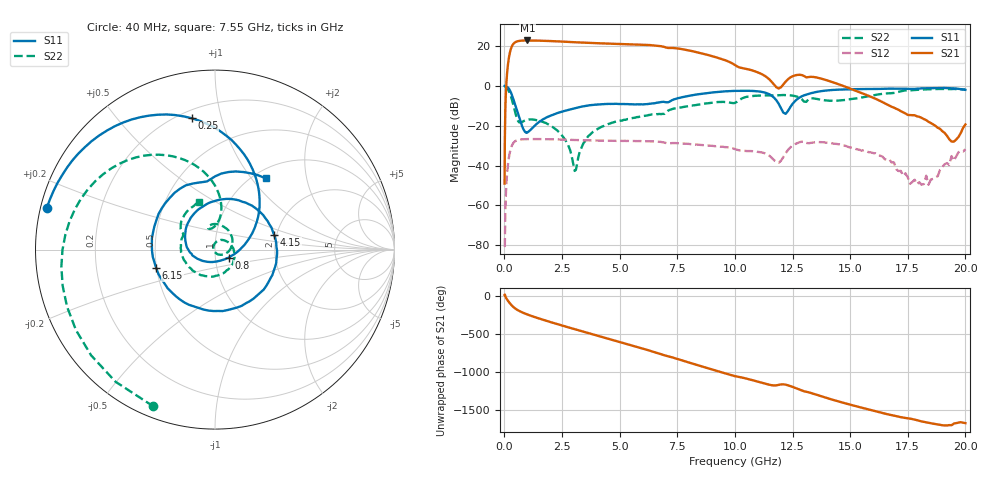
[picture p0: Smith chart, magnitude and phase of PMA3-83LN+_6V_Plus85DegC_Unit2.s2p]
!Mini-Circuits Laboratory
!Date: 9/18/2015 at 7:48:37 AM
!S2P DATA File Format
!Type: MMIC Amplifier
!Model: PMA3-83LN+
!S/N: Unit 2
!Fixture: Unit soldered on TB-830A+ RUN  MN61900 D/C 1537, no port extension
!PIN OUT: PORT 1 - PIN 2, PORT 2 - PIN 8, GROUND - PADDLE, DC POWER SUPPLY - PIN 8, NOT CONNECTED - PINS 1,3 to 7, 9 to 12
!TEST CONDITIONS: Temp= 85 (Deg C) RF Power= -25.00 (dBm) V limit=6(V) I limit=150(mA) Z=50 OHM
!WAFER/LOT#: CP483P004-02, CP483P004-03,CP483P004-04,
!Network Analyzer: PNA-X N5242A S/N 71404 CAL DUE: 09/10/2016
!P.Supply/Multimeter: HP E3632A S/N 63249 CAL DUE: 12/11/2015
!Power Meter: Agilent U2000A S/N 74434 CAL DUE: 10/17/2015
# Hz  S  dB  R  50
!Frequency  S11 dB  S11 Deg  S21 dB  S21 Deg  S12 dB  S12 Deg  S22 dB  S22 Deg
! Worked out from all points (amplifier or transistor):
!   380 points, 10 MHz to 20 GHz, reference 50 ohm
!   highest |S21| = 22.6 dB at 1 GHz (marker M1)
!   |S21| within 3 dB of that: 322.8 MHz to 6.853 GHz (6.53 GHz wide, 182 % of centre)
!   unconditionally stable (mu >= 1): start of sweep to end of sweep
!   at 640 MHz: K = 1.11, MAG = 22.7 dB, |S12| = -27.1 dB
!   at 5.55 GHz: K = 1.19, MAG = 21.6 dB, |S12| = -27.7 dB
!   at 20 GHz: K = 25.94, MAG = -11.0 dB, |S12| = -31.8 dB
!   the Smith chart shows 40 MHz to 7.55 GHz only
!   S11 on the Smith chart (normalised r, x): 40 MHz: 0.02, +0.12; 250 MHz: 0.25, +0.81; 800 MHz: 1.16, -0.10; 4.15 GHz: 1.94, +0.36; 6.15 GHz: 0.50, -0.12; 7.55 GHz: 1.13, +1.18
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1e7  -0.16 173.7  -49.09 20.8  -80.14 115.7  -0.00 -35.2
4e7  -0.30 166.2  -12.67 4.0  -64.05 -147.5  -0.55 -111.5
2.5e8  -2.58 100.0  17.06 -95.0  -32.78 97.7  -4.23 120.6
5e8  -10.78 35.3  21.91 -165.9  -27.62 29.0  -14.70 80.9
8e8  -21.14 -30.7  22.57 145.5  -26.86 -14.8  -18.01 107.6
1e9  -23.43 -89.6  22.62 120.9  -26.76 -35.8  -17.12 100.1
1.5e9  -18.24 -161.2  22.51 68.5  -26.77 -78.7  -17.52 60.7
2.15e9  -14.41 150.0  22.24 7.3  -26.89 -127.1  -21.20 4.3
2.8e9  -12.13 107.2  21.86 -50.9  -27.15 -172.4  -30.80 -61.5
3.35e9  -10.52 70.5  21.58 -98.6  -27.30 150.8  -30.80 98.8
4.15e9  -9.38 14.0  21.19 -167.4  -27.52 97.7  -21.00 23.2
4.65e9  -9.13 -23.8  20.98 149.6  -27.62 64.9  -18.62 -21.8
5.2e9  -9.24 -69.5  20.78 101.9  -27.69 29.0  -17.10 -71.2
6.15e9  -9.28 -162.4  20.42 17.1  -27.84 -35.1  -15.02 -154.4
6.7e9  -8.42 137.0  19.93 -34.7  -28.09 -73.8  -14.20 163.5
7.55e9  -6.24 54.5  18.54 -111.3  -28.84 -128.0  -11.14 108.3
8.15e9  -4.80 -2.2  17.27 -167.4  -29.33 -168.0  -10.02 67.9
8.9e9  -3.59 -68.2  15.14 124.1  -30.03 143.6  -8.73 16.5
1.01e10  -2.62 -164.2  9.61 19.1  -32.15 65.5  -8.05 -49.3
1.34e10  -3.51 -1.1  4.34 152.9  -28.48 -113.5  -6.39 84.3
1.67e10  -1.52 132.1  -10.00 -122.9  -37.01 -34.6  -3.84 133.8
2e10  -2.13 -3.4  -19.46 124.3  -31.84 -64.6  -1.97 -29.4
